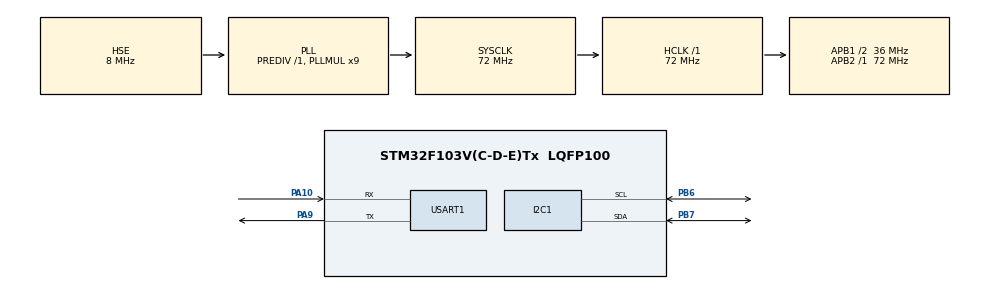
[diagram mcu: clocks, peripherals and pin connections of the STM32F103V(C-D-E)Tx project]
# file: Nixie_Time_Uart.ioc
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Mcu.Family=STM32F1
Mcu.Name=STM32F103V(C-D-E)Tx
Mcu.Package=LQFP100
NVIC.PriorityGroup=NVIC_PRIORITYGROUP_4
OSC_IN.Mode=HSE-External-Oscillator
OSC_IN.Signal=RCC_OSC_IN
OSC_OUT.Mode=HSE-External-Oscillator
OSC_OUT.Signal=RCC_OSC_OUT
PA10.Mode=Asynchronous
PA10.Signal=USART1_RX
PA13.Mode=Serial_Wire
PA13.Signal=SYS_JTMS-SWDIO
PA14.Mode=Serial_Wire
PA14.Signal=SYS_JTCK-SWCLK
PA9.Mode=Asynchronous
PA9.Signal=USART1_TX
PB6.Mode=I2C
PB6.Signal=I2C1_SCL
PB7.Mode=I2C
PB7.Signal=I2C1_SDA
ProjectManager.HeapSize=0x200
ProjectManager.StackSize=0x400
ProjectManager.TargetToolchain=MDK-ARM V5.32
RCC.AHBFreq_Value=72000000
RCC.APB1CLKDivider=RCC_HCLK_DIV2
RCC.APB1Freq_Value=36000000
RCC.APB1TimFreq_Value=72000000
RCC.APB2Freq_Value=72000000
RCC.APB2TimFreq_Value=72000000
RCC.HCLKFreq_Value=72000000
RCC.PLLMUL=RCC_PLL_MUL9
RCC.PLLSourceVirtual=RCC_PLLSOURCE_HSE
RCC.SYSCLKFreq_VALUE=72000000
RCC.SYSCLKSource=RCC_SYSCLKSOURCE_PLLCLK
RCC.USBFreq_Value=72000000
USART1.VirtualMode=VM_ASYNC
board=custom

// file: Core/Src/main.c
/* USER CODE BEGIN Header */
/**
  ******************************************************************************
  * @file           : main.c
  * @brief          : Main program body
  ******************************************************************************
  * @attention
  *
  * Copyright (c) 2024 STMicroelectronics.
  * All rights reserved.
  *
  * This software is licensed under terms that can be found in the LICENSE file
  * in the root directory of this software component.
  * If no LICENSE file comes with this software, it is provided AS-IS.
  *
  ******************************************************************************
  */
/* USER CODE END Header */
#include "main.h"
#include "i2c.h"
#include "usart.h"
#include "gpio.h"

/* USER CODE BEGIN Includes */
#include"stdio.h"
#include"string.h"
#include"ds1307.h"
/* USER CODE END Includes */

void SystemClock_Config(void);

/* USER CODE BEGIN 0 */
int fputc(int ch, FILE *f)
{
  HAL_UART_Transmit(&huart1,(uint8_t *)&ch,1,50);
  return ch;
}

/* USER CODE END 0 */

int main(void)
{

  /* USER CODE BEGIN 1 */
  const char *DAYS_OF_WEEK[7] = { "Sunday", "Monday", "Tuesday", "Wednesday", "Thursday", "Friday", "Saturday" };
  /* USER CODE END 1 */

  /* MCU Configuration--------------------------------------------------------*/

  /* Reset of all peripherals, Initializes the Flash interface and the Systick. */
  HAL_Init();

  /* Configure the system clock */
  SystemClock_Config();

  /* Initialize all configured peripherals */
  MX_GPIO_Init();
  MX_I2C1_Init();
  MX_USART1_UART_Init();
  /* USER CODE BEGIN 2 */
    DS1307_Init(&hi2c1);
    uint32_t TimerUART = HAL_GetTick();
  /* USER CODE END 2 */

  /* Infinite loop */
  while (1)
  {

    /* USER CODE BEGIN 3 */
    if ((HAL_GetTick() - TimerUART) > 1000)
        {

            uint8_t date = DS1307_GetDate();
            uint8_t month = DS1307_GetMonth();
            uint16_t year = DS1307_GetYear();
            uint8_t dow = DS1307_GetDayOfWeek();
            uint8_t hour = DS1307_GetHour();
            uint8_t minute = DS1307_GetMinute();
            uint8_t second = DS1307_GetSecond();
            int8_t zone_hr = DS1307_GetTimeZoneHour();
            uint8_t zone_min = DS1307_GetTimeZoneMin();
            char buffer[100] = { 0 };

printf("Time:%04d-%02d-%02d\t%02d:%02d:%02d %s\r\n",year, month, date, hour, minute, second, DAYS_OF_WEEK[dow]);
            TimerUART = HAL_GetTick();
        }

  }
  /* USER CODE END 3 */
}

void SystemClock_Config(void)
{
  RCC_OscInitTypeDef RCC_OscInitStruct = {0};
  RCC_ClkInitTypeDef RCC_ClkInitStruct = {0};

  /** Initializes the RCC Oscillators according to the specified parameters
  * in the RCC_OscInitTypeDef structure.
  */
  RCC_OscInitStruct.OscillatorType = RCC_OSCILLATORTYPE_HSE;
  RCC_OscInitStruct.HSEState = RCC_HSE_ON;
  RCC_OscInitStruct.HSEPredivValue = RCC_HSE_PREDIV_DIV1;
  RCC_OscInitStruct.HSIState = RCC_HSI_ON;
  RCC_OscInitStruct.PLL.PLLState = RCC_PLL_ON;
  RCC_OscInitStruct.PLL.PLLSource = RCC_PLLSOURCE_HSE;
  RCC_OscInitStruct.PLL.PLLMUL = RCC_PLL_MUL9;
  if (HAL_RCC_OscConfig(&RCC_OscInitStruct) != HAL_OK)
  {
    Error_Handler();
  }

  /** Initializes the CPU, AHB and APB buses clocks
  */
  RCC_ClkInitStruct.ClockType = RCC_CLOCKTYPE_HCLK|RCC_CLOCKTYPE_SYSCLK
                              |RCC_CLOCKTYPE_PCLK1|RCC_CLOCKTYPE_PCLK2;
  RCC_ClkInitStruct.SYSCLKSource = RCC_SYSCLKSOURCE_PLLCLK;
  RCC_ClkInitStruct.AHBCLKDivider = RCC_SYSCLK_DIV1;
  RCC_ClkInitStruct.APB1CLKDivider = RCC_HCLK_DIV2;
  RCC_ClkInitStruct.APB2CLKDivider = RCC_HCLK_DIV1;

  if (HAL_RCC_ClockConfig(&RCC_ClkInitStruct, FLASH_LATENCY_2) != HAL_OK)
  {
    Error_Handler();
  }
}

void Error_Handler(void)
{
  __disable_irq();
  while (1)
  {
  }
}
